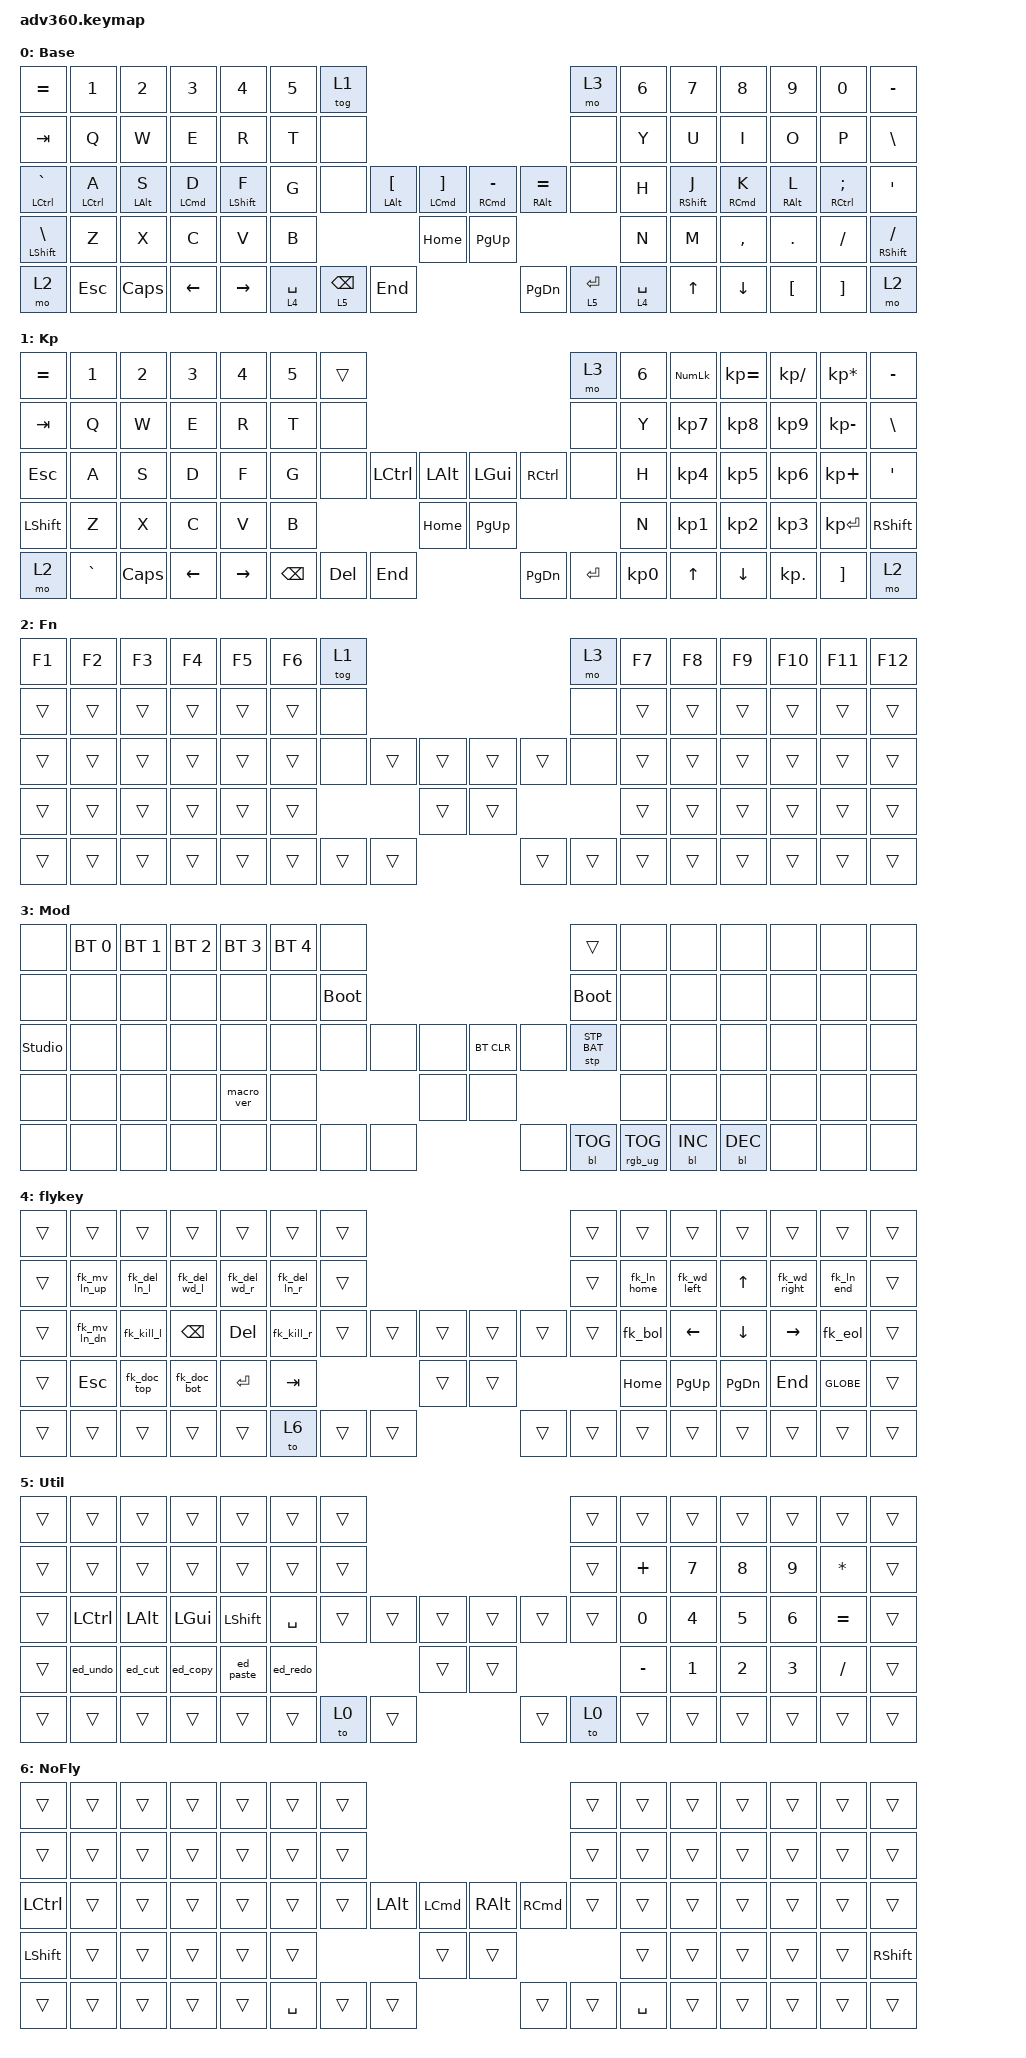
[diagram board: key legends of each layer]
#include <behaviors.dtsi>
#include <dt-bindings/zmk/keys.h>
#include <dt-bindings/zmk/bt.h>
#include <dt-bindings/zmk/rgb.h>
#include <dt-bindings/zmk/stp.h>
#include <dt-bindings/zmk/backlight.h>
#include <dt-bindings/zmk/pointing.h>

/ {
    behaviors {
      #include "macros.dtsi"
      #include "version.dtsi"

      hm: homerow_mods {
          compatible = "zmk,behavior-hold-tap";
          label = "HOMEROW_MODS";
          #binding-cells = <2>;
          tapping-term-ms = <280>;
          quick_tap_ms = <175>;
          require-prior-idle-ms = <150>;
          flavor = "balanced";
          bindings = <&kp>, <&kp>;
      };

      hm_hp: homerow_mods_hold_preferred {
          compatible = "zmk,behavior-hold-tap";
          label = "HOMEROW_MODS_HOLD_PREFERRED";
          #binding-cells = <2>;
          tapping-term-ms = <200>;
          quick_tap_ms = <175>;
          flavor = "hold-preferred";
          bindings = <&kp>, <&kp>;
      };

      lt_b: layer_tap_hold_preferred {
          compatible = "zmk,behavior-hold-tap";
          label = "LAYER_TAP_HOLD_PREFERRED";
          #binding-cells = <2>;
          tapping-term-ms = <200>;
          flavor = "hold-preferred";
          bindings = <&mo>, <&kp>;
      };
    };

  keymap {
    compatible = "zmk,keymap";

    default_layer {
      display-name = "Base";
      bindings = <
        &kp EQUAL         &kp N1              &kp N2          &kp N3              &kp N4            &kp N5  &tog 1                                                                                                   &mo 3        &kp N6  &kp N7             &kp N8               &kp N9           &kp N0                  &kp MINUS
        &kp TAB           &kp Q               &kp W           &kp E               &kp R             &kp T   &none                                                                                                    &none        &kp Y   &kp U              &kp I                &kp O            &kp P                   &kp BSLH
        &hm_hp LEFT_CONTROL GRAVE  &hm LEFT_CONTROL A  &hm LEFT_ALT S  &hm LEFT_COMMAND D  &hm LEFT_SHIFT F  &kp G   &none        &hm_hp LEFT_ALT LBKT  &hm_hp LEFT_COMMAND RBKT      &hm_hp RIGHT_COMMAND MINUS  &hm_hp RIGHT_ALT EQUAL  &none        &kp H   &hm RIGHT_SHIFT J  &hm RIGHT_COMMAND K  &hm RIGHT_ALT L  &hm RIGHT_CONTROL SEMI  &kp SQT
        &hm_hp LEFT_SHIFT BSLH  &kp Z               &kp X           &kp C               &kp V             &kp B                                   &kp HOME                   &kp PG_UP                                                  &kp N   &kp M              &kp COMMA            &kp DOT          &kp FSLH                &hm_hp RIGHT_SHIFT FSLH
        &mo 2             &kp ESC             &kp CAPS        &kp LEFT            &kp RIGHT                 &lt_b 4 SPACE  &lt_b 5 BACKSPACE    &kp END                    &kp PG_DN                &lt 5 ENTER          &lt_b 4 SPACE          &kp UP             &kp DOWN             &kp LBKT         &kp RBKT                &mo 2
      >;
    };

    keypad {
      display-name = "Kp";
      bindings = <
        &kp EQUAL &kp N1    &kp N2   &kp N3   &kp N4     &kp N5 &trans                                                           &mo 3 &kp N6 &kp KP_NUM &kp KP_EQUAL &kp KP_DIVIDE &kp KP_MULTIPLY &kp MINUS
        &kp TAB   &kp Q     &kp W    &kp E    &kp R      &kp T  &none                                                            &none &kp Y  &kp KP_N7  &kp KP_N8    &kp KP_N9     &kp KP_MINUS    &kp BSLH
        &kp ESC   &kp A     &kp S    &kp D    &kp F      &kp G  &none           &kp LCTRL &kp LALT &kp LGUI  &kp RCTRL           &none &kp H  &kp KP_N4  &kp KP_N5    &kp KP_N6     &kp KP_PLUS     &kp SQT
        &kp LSHFT &kp Z     &kp X    &kp C    &kp V      &kp B                            &kp HOME &kp PG_UP                           &kp N  &kp KP_N1  &kp KP_N2    &kp KP_N3     &kp KP_ENTER    &kp RSHFT
        &mo 2     &kp GRAVE &kp CAPS &kp LEFT &kp RIGHT                &kp BSPC &kp DEL   &kp END  &kp PG_DN &kp ENTER &kp KP_N0              &kp UP     &kp DOWN     &kp KP_DOT    &kp RBKT        &mo 2
      >;
    };

    fn {
      display-name = "Fn";
      bindings = <
        &kp F1 &kp F2 &kp F3 &kp F4 &kp F5 &kp F6 &tog 1                                           &mo 3 &kp F7 &kp F8 &kp F9 &kp F10 &kp F11 &kp F12
        &trans &trans &trans &trans &trans &trans  &none                                           &none &trans &trans &trans &trans  &trans  &trans
        &trans &trans &trans &trans &trans &trans  &none        &trans &trans &trans &trans        &none &trans &trans &trans &trans  &trans  &trans
        &trans &trans &trans &trans &trans &trans                      &trans &trans                     &trans &trans &trans &trans  &trans  &trans
        &trans &trans &trans &trans &trans               &trans &trans &trans &trans &trans &trans              &trans &trans &trans  &trans  &trans
      >;
    };

    mod {
      display-name = "Mod";
      bindings = <
        &none          &bt BT_SEL 0 &bt BT_SEL 1 &bt BT_SEL 2 &bt BT_SEL 3 &bt BT_SEL 4 &none                                                                     &trans                 &none        &none        &none        &none &none &none
        &none          &none        &none        &none        &none        &none        &bootloader                                                               &bootloader            &none        &none        &none        &none &none &none
        &studio_unlock &none        &none        &none        &none        &none        &none                   &none &none &bt BT_CLR &none                      &stp STP_BAT &none        &none        &none        &none &none &none
        &none          &none        &none        &none        &macro_ver   &none                                      &none &none                                                        &none        &none        &none        &none &none &none
        &none          &none        &none        &none        &none                                       &none &none &none &none      &bl BL_TOG &rgb_ug RGB_TOG                                     &bl BL_INC   &bl BL_DEC   &none &none &none
      >;
    };

    flykey {
      bindings = <
        &trans  &trans        &trans             &trans             &trans          &trans          &trans                                      &trans  &trans        &trans        &trans     &trans         &trans         &trans
        &trans  &fk_mv_ln_up  &fk_del_ln_l       &fk_del_wd_l       &fk_del_wd_r    &fk_del_ln_r    &trans                                      &trans  &fk_ln_home   &fk_wd_left   &kp UP     &fk_wd_right   &fk_ln_end     &trans
        &trans  &fk_mv_ln_dn  &fk_kill_l         &kp BSPC           &kp DELETE      &fk_kill_r      &trans  &trans  &trans      &trans  &trans  &trans  &fk_bol       &kp LEFT      &kp DOWN   &kp RIGHT      &fk_eol        &trans
        &trans  &kp ESC       &fk_doc_top        &fk_doc_bot        &kp RET         &kp TAB                         &trans      &trans                  &kp HOME      &kp PG_UP     &kp PG_DN  &kp END        &kp GLOBE      &trans
        &trans  &trans        &trans             &trans             &trans                          &to 6   &trans  &trans      &trans  &trans  &trans                &trans        &trans     &trans         &trans         &trans
      >;
    };

    num {
      display-name = "Util";
      bindings = <
        &trans  &trans     &trans   &trans    &trans     &trans  &trans                                      &trans  &trans     &trans  &trans  &trans  &trans     &trans
        &trans  &trans     &trans   &trans    &trans     &trans  &trans                                      &trans  &kp PLUS   &kp N7  &kp N8  &kp N9  &kp STAR   &trans
        &trans  &kp LCTRL  &kp LALT &kp LGUI  &kp LSHFT  &kp SPACE  &trans  &trans  &trans      &trans  &trans  &trans  &kp N0     &kp N4  &kp N5  &kp N6  &kp EQUAL  &trans
        &trans  &ed_undo   &ed_cut  &ed_copy  &ed_paste  &ed_redo                &trans      &trans                  &kp MINUS  &kp N1  &kp N2  &kp N3  &kp FSLH   &trans
        &trans  &trans     &trans   &trans    &trans             &trans  &to 0   &trans      &trans  &to 0   &trans             &trans  &trans  &trans  &trans     &trans
      >;
    };

    plain {
      display-name = "NoFly";
      bindings = <
        &trans            &trans  &trans  &trans  &trans  &trans  &trans                                                                                                                               &trans  &trans  &trans            &trans           &trans  &trans            &trans
        &trans            &trans  &trans  &trans  &trans  &trans  &trans                                                                                                                               &trans  &trans  &trans            &trans           &trans  &trans            &trans
        &kp LEFT_CONTROL  &trans  &trans  &trans  &trans  &trans  &trans  &kp LEFT_ALT  &kp LEFT_COMMAND  &kp RIGHT_ALT  &kp RIGHT_COMMAND  &trans  &trans  &trans  &trans  &trans  &trans            &trans
        &kp LEFT_SHIFT    &trans  &trans  &trans  &trans  &trans                         &trans             &trans                                    &trans  &trans  &trans  &trans  &trans            &kp RIGHT_SHIFT
        &trans  &trans  &trans  &trans  &trans          &kp SPACE  &trans  &trans  &trans  &trans          &kp SPACE  &trans  &trans  &trans  &trans  &trans
      >;
    };

    extra1 {
      display-name = "Red";
      status = "reserved";
    };

    extra2 {
      display-name = "Purple";
      status = "reserved";
    };

    extra3 {
      display-name = "Cyan";
      status = "reserved";
    };

    extra4 {
      display-name = "Yellow";
      status = "reserved";
    };
  };
};

/ {
    combos {
        compatible = "zmk,combos";
        combo_esc {
            timeout-ms = <50>;
            key-positions = <15 16>;
            bindings = <&kp ESC>;
        };
    };
};
